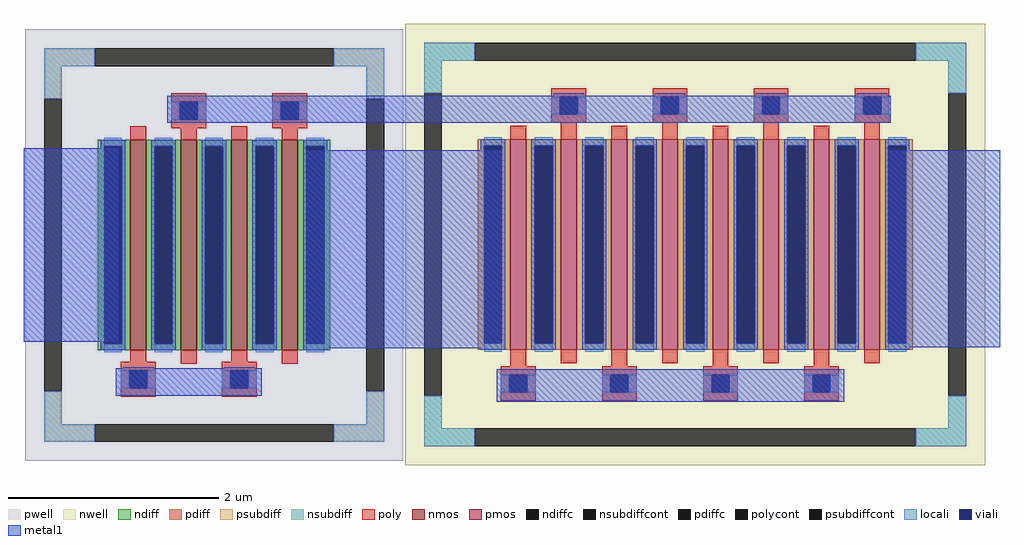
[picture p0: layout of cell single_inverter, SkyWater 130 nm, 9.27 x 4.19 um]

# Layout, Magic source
magic
tech sky130A
magscale 1 2
<< pwell >>
rect 1034 2076 1312 2128
<< metal1 >>
rect 1132 2594 2506 2646
rect 860 2178 1040 2546
rect 1394 2166 1768 2542
rect 2500 2168 2714 2542
rect 1034 2076 1312 2128
rect 1758 2064 2418 2126
use sky130_fd_pr__pfet_01v8_XGN4NP  XM1
transform 1 0 2135 0 1 2363
box -551 -419 551 419
use sky130_fd_pr__nfet_01v8_F5PS5H  XM2
transform 1 0 1221 0 1 2362
box -359 -410 359 410
<< end >>

# cell sky130_fd_pr__pfet_01v8_XGN4NP: kit device sky130_fd_pr__pfet_01v8, w 2.0 l 0.15 m 1 nf 8 diffcov 100 polycov 100 guard 1 glc 1 grc 1 gtc 1 gbc 1 tbcov 100 rlcov 100 topc 1 botc 1 poverlap 0 doverlap 1 lmin 0.15 wmin 0.42 compatible {sky130_fd_pr__pfet_01v8 sky130_fd_pr__pfet_01v8_lvt sky130_fd_pr__pfet_01v8_hvt sky130_fd_pr__pfet_g5v0d10v5} full_metal 1 viasrc 100 viadrn 100 viagate 100 viagb 0 viagr 0 viagl 0 viagt 0

# cell sky130_fd_pr__nfet_01v8_F5PS5H: kit device sky130_fd_pr__nfet_01v8, w 2.0 l 0.15 m 1 nf 4 diffcov 100 polycov 100 guard 1 glc 1 grc 1 gtc 1 gbc 1 tbcov 100 rlcov 100 topc 1 botc 1 poverlap 0 doverlap 1 lmin 0.15 wmin 0.42 compatible {sky130_fd_pr__nfet_01v8 sky130_fd_pr__nfet_01v8_lvt sky130_fd_bs_flash__special_sonosfet_star sky130_fd_pr__nfet_g5v0d10v5 sky130_fd_pr__nfet_05v0_nvt sky130_fd_pr__nfet_03v3_nvt} full_metal 1 viasrc 100 viadrn 100 viagate 100 viagb 0 viagr 0 viagl 0 viagt 0
